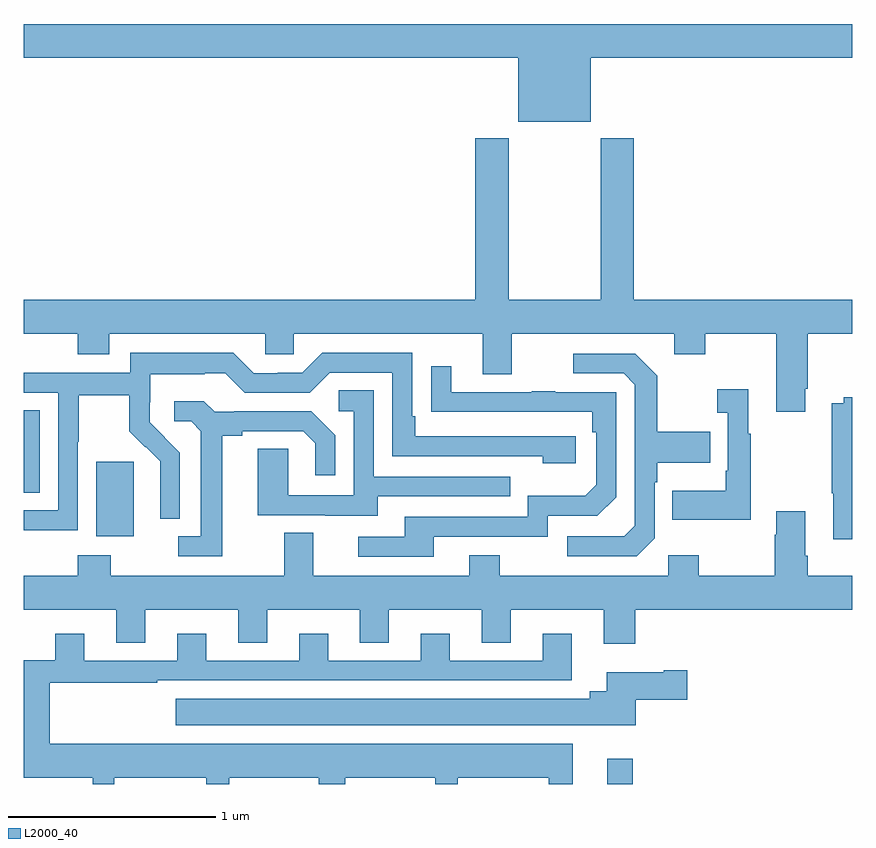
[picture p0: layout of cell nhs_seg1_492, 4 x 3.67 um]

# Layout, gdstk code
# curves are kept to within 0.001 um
import gdstk
lib = gdstk.Library(unit=1e-6, precision=1e-09)
def R(c, l, rs):  # rectangles x0, y0, x1, y1
    for r in rs: c.add(gdstk.rectangle(r[:2], r[2:], *l))
def P(c, l, *ps):  # polygons
    for p in ps: c.add(gdstk.Polygon(p, *l))
L2000_40 = (2000, 40)

nhs_seg1_492 = lib.new_cell('nhs_seg1_492')
R(nhs_seg1_492, L2000_40, [(139.817,576.199,139.939,576.322), (137.351,577.394,137.53,577.755), (137,577.606,137.077,578.003)])
P(nhs_seg1_492, L2000_40, [(139.738,579.704),(141,579.704),(141,579.868),(137,579.868),(137,579.704),(139.388,579.704),(139.388,579.395),(139.738,579.395)],
  [(140.773,578.107),(140.786,578.107),(140.786,578.372),(141,578.372),(141,578.536),(139.946,578.536),(139.946,579.316),(139.786,579.316),(139.786,578.536),(139.341,578.536),(139.341,579.316),(139.181,579.316),(139.181,578.536),(137,578.536),(137,578.372),(137.261,578.372),(137.261,578.273),(137.413,578.273),(137.413,578.372),(138.165,578.372),(138.165,578.274),(138.303,578.274),(138.303,578.372),(139.217,578.372),(139.217,578.178),(139.357,578.178),(139.357,578.372),(140.141,578.372),(140.141,578.273),(140.289,578.273),(140.289,578.372),(140.633,578.372),(140.633,577.995),(140.773,577.995)],
  [(137.262,577.852),(137.265,577.852),(137.265,578.076),(137.509,578.076),(137.509,577.901),(137.586,577.824),(137.589,577.827),(137.66,577.757),(137.66,577.634),(137.658,577.634),(137.658,577.48),(137.754,577.48),(137.754,577.798),(137.608,577.946),(137.608,578.043),(137.61,578.043),(137.61,578.177),(137.873,578.177),(137.873,578.181),(137.973,578.181),(138.066,578.088),(138.381,578.088),(138.477,578.184),(138.78,578.184),(138.78,577.782),(139.505,577.782),(139.505,577.748),(139.666,577.748),(139.666,577.878),(138.889,577.878),(138.889,577.975),(138.876,577.975),(138.876,578.28),(138.441,578.28),(138.345,578.184),(138.227,578.184),(138.227,578.181),(138.111,578.181),(138.011,578.281),(137.514,578.281),(137.514,578.184),(137,578.184),(137,578.088),(137.166,578.088),(137.166,577.521),(137,577.521),(137,577.423),(137.262,577.423)],
  [(140.046,577.386),(140.046,577.655),(140.059,577.655),(140.059,577.751),(140.315,577.751),(140.315,577.899),(140.059,577.899),(140.059,578.171),(139.953,578.277),(139.653,578.277),(139.653,578.181),(139.896,578.181),(139.95,578.127),(139.95,577.446),(139.899,577.395),(139.623,577.395),(139.623,577.299),(139.959,577.299)],
  [(138.979,577.392),(139.53,577.392),(139.53,577.494),(139.77,577.494),(139.86,577.584),(139.86,578.091),(139.565,578.091),(139.565,578.096),(139.453,578.096),(139.453,578.091),(139.063,578.091),(139.063,578.215),(138.967,578.215),(138.967,577.996),(139.744,577.995),(139.744,577.898),(139.764,577.898),(139.764,577.644),(139.711,577.591),(139.434,577.591),(139.434,577.488),(138.839,577.488),(138.839,577.392),(138.615,577.392),(138.615,577.296),(138.979,577.296)],
  [(140.509,577.891),(140.497,577.891),(140.497,578.104),(140.349,578.104),(140.349,577.991),(140.4,577.991),(140.4,577.711),(140.388,577.711),(140.388,577.615),(140.131,577.615),(140.131,577.475),(140.509,577.475)],
  [(138.709,577.587),(139.349,577.587),(139.349,577.683),(138.69,577.683),(138.69,578.099),(138.522,578.099),(138.522,577.998),(138.594,577.998),(138.594,577.593),(138.276,577.593),(138.276,577.817),(138.131,577.817),(138.131,577.497),(138.455,577.497),(138.455,577.493),(138.709,577.493)],
  [(141,578.067),(140.958,578.067),(140.958,578.038),(140.902,578.038),(140.902,577.603),(140.909,577.603),(140.909,577.38),(141,577.38)],
  [(137.959,577.88),(138.055,577.88),(138.055,577.902),(138.35,577.902),(138.407,577.845),(138.407,577.689),(138.504,577.689),(138.504,577.882),(138.388,577.998),(138.016,577.998),(138.016,577.995),(137.922,577.995),(137.87,578.047),(137.727,578.047),(137.727,577.95),(137.808,577.95),(137.855,577.903),(137.855,577.395),(137.745,577.395),(137.745,577.299),(137.959,577.299)],
  [(139.952,577.04),(141,577.04),(141,577.204),(140.786,577.204),(140.786,577.3),(140.773,577.3),(140.773,577.516),(140.633,577.516),(140.633,577.403),(140.626,577.403),(140.626,577.204),(140.259,577.204),(140.259,577.303),(140.112,577.303),(140.112,577.204),(139.299,577.204),(139.299,577.303),(139.151,577.303),(139.151,577.204),(138.397,577.204),(138.397,577.412),(138.257,577.412),(138.257,577.204),(137.421,577.204),(137.421,577.303),(137.261,577.303),(137.261,577.204),(137,577.204),(137,577.04),(137.447,577.04),(137.447,576.88),(137.587,576.88),(137.587,577.04),(138.035,577.04),(138.035,576.88),(138.175,576.88),(138.175,577.04),(138.623,577.04),(138.623,576.88),(138.763,576.88),(138.763,577.04),(139.211,577.04),(139.211,576.88),(139.351,576.88),(139.351,577.04),(139.799,577.04),(139.799,576.876),(139.952,576.876)],
  [(137.437,576.23),(137.882,576.23),(137.882,576.199),(137.992,576.199),(137.992,576.23),(138.425,576.23),(138.425,576.199),(138.553,576.199),(138.553,576.23),(138.986,576.23),(138.986,576.199),(139.096,576.199),(139.096,576.23),(139.535,576.23),(139.535,576.199),(139.651,576.199),(139.651,576.394),(137.125,576.394),(137.125,576.687),(137.645,576.687),(137.645,576.699),(139.645,576.699),(139.645,576.925),(139.505,576.925),(139.505,576.795),(139.057,576.795),(139.057,576.925),(138.917,576.925),(138.917,576.795),(138.469,576.795),(138.469,576.925),(138.329,576.925),(138.329,576.795),(137.881,576.795),(137.881,576.925),(137.741,576.925),(137.741,576.795),(137.293,576.795),(137.293,576.925),(137.153,576.925),(137.153,576.796),(137,576.796),(137,576.23),(137.333,576.23),(137.333,576.199),(137.437,576.199)],
  [(139.954,576.605),(140.203,576.605),(140.203,576.747),(140.09,576.747),(140.09,576.739),(139.814,576.739),(139.814,576.646),(139.733,576.646),(139.733,576.61),(137.733,576.61),(137.733,576.482),(139.954,576.482)])

lib.write_gds('nhs_seg1_492.gds')
